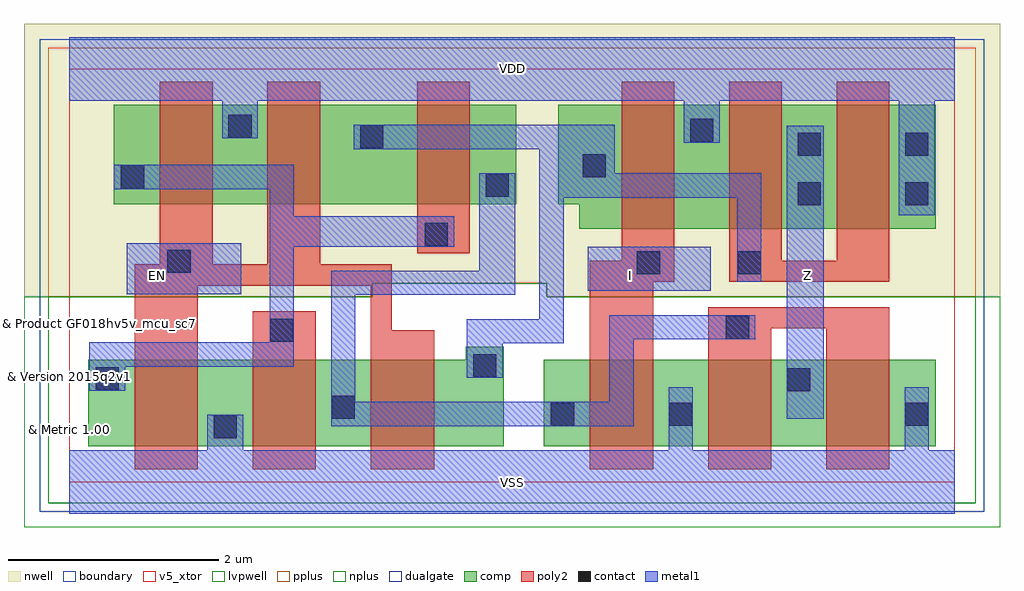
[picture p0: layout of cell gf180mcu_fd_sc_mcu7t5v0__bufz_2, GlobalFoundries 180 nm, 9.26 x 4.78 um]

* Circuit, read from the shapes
.subckt gf180mcu_fd_sc_mcu7t5v0__bufz_2 EN I VDD VSS Z
XM1 VSS EN n1 VSUBS nfet_05v0 w=0.82u l=0.6u
XM2 n2 n1 VSS VSUBS nfet_05v0 w=0.82u l=0.6u
XM3 n3 EN n2 VSUBS nfet_05v0 w=0.82u l=0.6u
XM4 VSS I n2 VSUBS nfet_05v0 w=0.82u l=0.6u
XM5 Z n2 VSS VSUBS nfet_05v0 w=0.82u l=0.6u m=2
XM6 VDD EN n1 n4 pfet_05v0 w=0.945u l=0.5u
XM7 n3 EN VDD n4 pfet_05v0 w=0.945u l=0.5u
XM8 n2 n1 n3 n4 pfet_05v0 w=0.945u l=0.5u
XM9 VDD I n3 n4 pfet_05v0 w=1.175u l=0.5u
XM10 Z n3 VDD n4 pfet_05v0 w=1.175u l=0.5u m=2
.ends

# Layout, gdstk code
import gdstk
lib = gdstk.Library(unit=1e-6, precision=1e-09)
def R(c, l, rs):  # rectangles x0, y0, x1, y1
    for r in rs: c.add(gdstk.rectangle(r[:2], r[2:], *l))
def P(c, l, *ps):  # polygons
    for p in ps: c.add(gdstk.Polygon(p, *l))
boundary = (0, 0)
nwell = (21, 0)
comp = (22, 0)
poly2 = (30, 0)
pplus = (31, 0)
nplus = (32, 0)
contact = (33, 0)
metal1 = (34, 0)
dualgate = (55, 0)
v5_xtor = (112, 1)
lvpwell = (204, 0)

gf180mcu_fd_sc_mcu7t5v0_ = lib.new_cell('gf180mcu_fd_sc_mcu7t5v0__bufz_2')
R(gf180mcu_fd_sc_mcu7t5v0_, boundary, [(0,0,8.4,3.92)])
P(gf180mcu_fd_sc_mcu7t5v0_, nwell, [(-0.43,1.76),(-0.43,4.35),(8.83,4.35),(8.83,1.76),(4.53,1.76),(4.53,1.885),(2.875,1.885),(2.875,1.76)])
R(gf180mcu_fd_sc_mcu7t5v0_, comp, [(4.5,0.34,8.22,1.16), (0.42,2.635,4.24,3.58)])
P(gf180mcu_fd_sc_mcu7t5v0_, comp, [(0.18,0.34),(0.18,1.16),(3.76,1.16),(3.76,1.285),(4.12,1.285),(4.12,0.34)],
  [(4.84,2.405),(4.84,2.635),(4.64,2.635),(4.64,3.58),(8.22,3.58),(8.22,2.405)])
R(gf180mcu_fd_sc_mcu7t5v0_, poly2, [(1.74,0.12,2.34,1.62), (3.3,2.17,3.8,3.8)])
P(gf180mcu_fd_sc_mcu7t5v0_, poly2, [(0.62,0.12),(0.62,2.065),(0.86,2.065),(0.86,3.8),(1.36,3.8),(1.36,2.065),(1.88,2.065),(1.88,3.8),(2.38,3.8),(2.38,2.065),(3.06,2.065),(3.06,1.44),(3.46,1.44),(3.46,0.12),(2.86,0.12),(2.86,1.865),(1.22,1.865),(1.22,0.12)],
  [(4.94,0.12),(4.94,2.1),(5.24,2.1),(5.24,3.8),(5.74,3.8),(5.74,1.9),(5.54,1.9),(5.54,0.12)],
  [(6.06,0.12),(6.06,1.66),(7.78,1.66),(7.78,0.12),(7.18,0.12),(7.18,1.46),(6.66,1.46),(6.66,0.12)],
  [(6.26,1.9),(6.26,3.8),(6.76,3.8),(6.76,2.1),(7.28,2.1),(7.28,3.8),(7.78,3.8),(7.78,1.9)])
P(gf180mcu_fd_sc_mcu7t5v0_, pplus, [(-0.2,1.76),(-0.2,4.12),(8.6,4.12),(8.6,1.76),(4.53,1.76),(4.53,1.885),(2.875,1.885),(2.875,1.76)])
P(gf180mcu_fd_sc_mcu7t5v0_, nplus, [(-0.2,-0.2),(-0.2,1.76),(2.875,1.76),(2.875,1.885),(4.53,1.885),(4.53,1.76),(8.6,1.76),(8.6,-0.2)])
R(gf180mcu_fd_sc_mcu7t5v0_, contact, [(1.37,0.415,1.59,0.635), (4.57,0.535,4.79,0.755), (5.69,0.535,5.91,0.755), (7.93,0.535,8.15,0.755), (2.49,0.6,2.71,0.82), (6.81,0.86,7.03,1.08), (0.25,0.87,0.47,1.09), (3.83,0.995,4.05,1.215), (1.905,1.33,2.125,1.55), (6.23,1.36,6.45,1.58), (5.385,1.97,5.605,2.19), (6.34,1.97,6.56,2.19), (0.93,1.985,1.15,2.205), (3.37,2.24,3.59,2.46), (6.91,2.625,7.13,2.845), (7.93,2.625,8.15,2.845), (3.95,2.705,4.17,2.925), (0.49,2.785,0.71,3.005), (4.87,2.89,5.09,3.11), (6.91,3.095,7.13,3.315), (7.93,3.095,8.15,3.315), (2.76,3.165,2.98,3.385), (5.89,3.225,6.11,3.445), (1.51,3.265,1.73,3.485)])
R(gf180mcu_fd_sc_mcu7t5v0_, metal1, [(6.805,0.6,7.16,3.38), (0.545,1.78,1.63,2.265), (4.92,1.815,6.085,2.235)])
P(gf180mcu_fd_sc_mcu7t5v0_, metal1, [(0.19,0.865),(0.19,1.325),(1.9,1.325),(1.9,2.78),(0.42,2.78),(0.42,3.01),(2.13,3.01),(2.13,2.52),(3.65,2.52),(3.65,2.235),(2.13,2.235),(2.13,1.095),(0.53,1.095),(0.53,0.865)],
  [(2.485,0.53),(2.485,2.005),(3.89,2.005),(3.89,2.93),(4.23,2.93),(4.23,1.775),(2.715,1.775),(2.715,0.76),(5.125,0.76),(5.125,1.585),(6.51,1.585),(6.51,1.355),(5.355,1.355),(5.355,0.53)],
  [(3.77,0.99),(3.77,1.545),(4.46,1.545),(4.46,3.16),(2.7,3.16),(2.7,3.39),(5.175,3.39),(5.175,2.93),(6.565,2.93),(6.565,1.9),(6.335,1.9),(6.335,2.7),(4.69,2.7),(4.69,1.315),(4.11,1.315),(4.11,0.99)],
  [(0,-0.3),(0,0.3),(1.31,0.3),(1.31,0.64),(1.65,0.64),(1.65,0.3),(5.685,0.3),(5.685,0.9),(5.915,0.9),(5.915,0.3),(7.925,0.3),(7.925,0.9),(8.155,0.9),(8.155,0.3),(8.4,0.3),(8.4,-0.3)],
  [(7.87,2.53),(7.87,3.62),(6.17,3.62),(6.17,3.22),(5.83,3.22),(5.83,3.62),(1.79,3.62),(1.79,3.26),(1.45,3.26),(1.45,3.62),(0,3.62),(0,4.22),(8.4,4.22),(8.4,3.62),(8.21,3.62),(8.21,2.53)])
R(gf180mcu_fd_sc_mcu7t5v0_, dualgate, [(-0.28,-0.28,8.68,4.2)])
R(gf180mcu_fd_sc_mcu7t5v0_, v5_xtor, [(0,0,8.4,3.92)])
P(gf180mcu_fd_sc_mcu7t5v0_, lvpwell, [(-0.43,-0.43),(-0.43,1.76),(2.875,1.76),(2.875,1.885),(4.53,1.885),(4.53,1.76),(8.83,1.76),(8.83,-0.43)])
gf180mcu_fd_sc_mcu7t5v0_.add(gdstk.Label('I', (5.32,1.96), layer=34, texttype=10))
gf180mcu_fd_sc_mcu7t5v0_.add(gdstk.Label('VDD', (4.2,3.92), layer=34, texttype=10))
gf180mcu_fd_sc_mcu7t5v0_.add(gdstk.Label('VSS', (4.2,0), layer=34, texttype=10))
gf180mcu_fd_sc_mcu7t5v0_.add(gdstk.Label('EN', (0.84,1.96), layer=34, texttype=10))
gf180mcu_fd_sc_mcu7t5v0_.add(gdstk.Label('Z', (7,1.96), layer=34, texttype=10))
gf180mcu_fd_sc_mcu7t5v0_.add(gdstk.Label('& Vendor GLOBALFOUNDRIES', (0,2), layer=63, texttype=63))
gf180mcu_fd_sc_mcu7t5v0_.add(gdstk.Label('& Product GF018hv5v_mcu_sc7', (0,1.5), layer=63, texttype=63))
gf180mcu_fd_sc_mcu7t5v0_.add(gdstk.Label('& Version 2015q2v1', (0,1), layer=63, texttype=63))
gf180mcu_fd_sc_mcu7t5v0_.add(gdstk.Label('& Metric 1.00', (0,0.5), layer=63, texttype=63))

lib.write_gds('gf180mcu_fd_sc_mcu7t5v0__bufz_2.gds')
